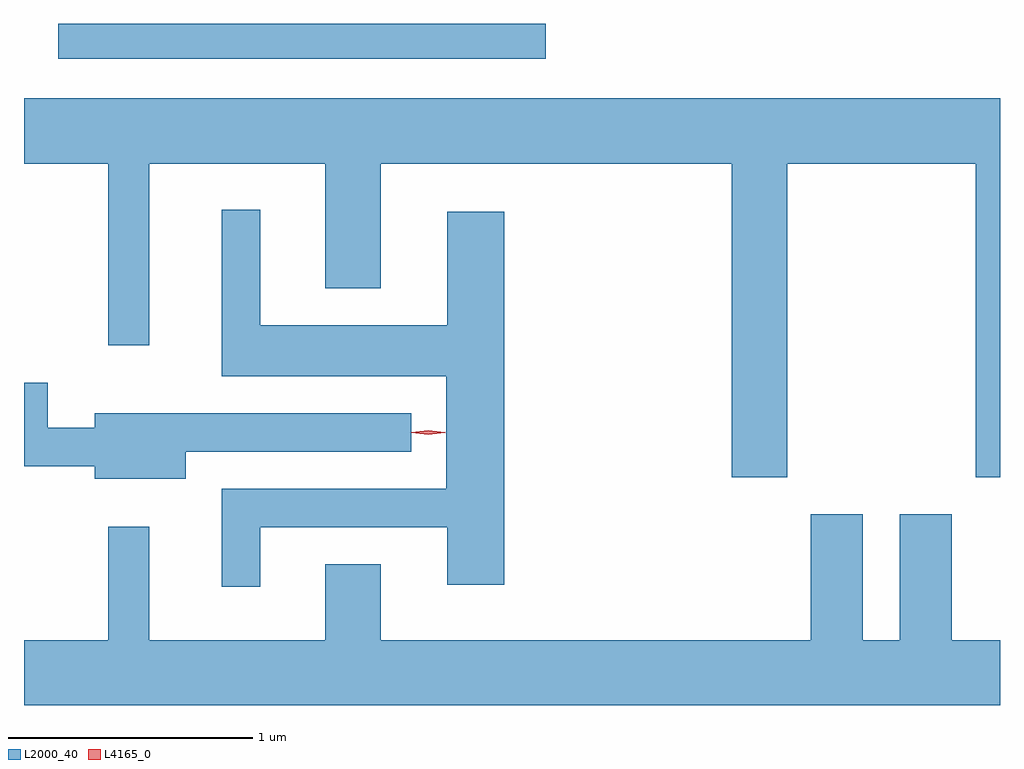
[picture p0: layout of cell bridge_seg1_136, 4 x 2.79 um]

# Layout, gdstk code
import gdstk
lib = gdstk.Library(unit=1e-6, precision=1e-09)
def R(c, l, rs):  # rectangles x0, y0, x1, y1
    for r in rs: c.add(gdstk.rectangle(r[:2], r[2:], *l))
def P(c, l, *ps):  # polygons
    for p in ps: c.add(gdstk.Polygon(p, *l))
L2000_40 = (2000, 40)
L4165_0 = (4165, 0)

bridge_seg1_136 = lib.new_cell('bridge_seg1_136')
R(bridge_seg1_136, L2000_40, [(1477.216,888.906,1479.214,889.051)])
P(bridge_seg1_136, L2000_40, [(1480.204,888.476),(1480.976,888.476),(1480.976,887.191),(1481.076,887.191),(1481.076,888.744),(1477.076,888.744),(1477.076,888.476),(1477.421,888.476),(1477.421,887.733),(1477.589,887.733),(1477.589,888.476),(1478.311,888.476),(1478.311,887.966),(1478.539,887.966),(1478.539,888.476),(1479.976,888.476),(1479.976,887.191),(1480.204,887.191)],
  [(1478.044,886.986),(1478.811,886.986),(1478.811,886.751),(1479.044,886.751),(1479.044,888.279),(1478.811,888.279),(1478.811,887.814),(1478.044,887.814),(1478.044,888.288),(1477.886,888.288),(1477.886,887.606),(1478.806,887.606),(1478.806,887.144),(1477.886,887.144),(1477.886,886.743),(1478.044,886.743)],
  [(1477.739,887.296),(1478.663,887.296),(1478.663,887.454),(1477.366,887.454),(1477.366,887.394),(1477.174,887.394),(1477.174,887.579),(1477.076,887.579),(1477.076,887.236),(1477.366,887.236),(1477.366,887.186),(1477.739,887.186)],
  [(1481.076,886.524),(1480.879,886.524),(1480.879,887.039),(1480.666,887.039),(1480.666,886.524),(1480.514,886.524),(1480.514,887.039),(1480.301,887.039),(1480.301,886.524),(1478.539,886.524),(1478.539,886.834),(1478.311,886.834),(1478.311,886.524),(1477.589,886.524),(1477.589,886.988),(1477.421,886.988),(1477.421,886.524),(1477.076,886.524),(1477.076,886.256),(1481.076,886.256)])
P(bridge_seg1_136, L4165_0, [(1478.733,887.365),(1478.664,887.374),(1478.664,887.375),(1478.664,887.375),(1478.733,887.385),(1478.802,887.375),(1478.802,887.375),(1478.802,887.374)],
  [(1478.733,887.365),(1478.667,887.374),(1478.667,887.375),(1478.667,887.375),(1478.733,887.385),(1478.799,887.375),(1478.8,887.375),(1478.799,887.374)])

lib.write_gds('bridge_seg1_136.gds')
